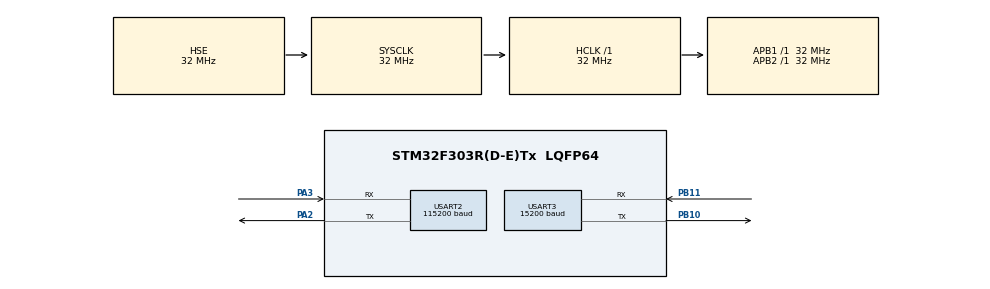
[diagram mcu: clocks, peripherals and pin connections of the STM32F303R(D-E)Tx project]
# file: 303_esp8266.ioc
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Mcu.Family=STM32F3
Mcu.Name=STM32F303R(D-E)Tx
Mcu.Package=LQFP64
NVIC.PriorityGroup=NVIC_PRIORITYGROUP_4
NVIC.USART2_IRQn=true\:0\:0\:false\:false\:true\:true
NVIC.USART3_IRQn=true\:0\:0\:false\:false\:true\:true
PA2.Mode=Asynchronous
PA2.Signal=USART2_TX
PA3.Mode=Asynchronous
PA3.Signal=USART2_RX
PB10.Mode=Asynchronous
PB10.Signal=USART3_TX
PB11.Mode=Asynchronous
PB11.Signal=USART3_RX
PF0-OSC_IN.Mode=HSE-External-Oscillator
PF0-OSC_IN.Signal=RCC_OSC_IN
PF1-OSC_OUT.Mode=HSE-External-Oscillator
PF1-OSC_OUT.Signal=RCC_OSC_OUT
ProjectManager.HeapSize=0x200
ProjectManager.StackSize=0x400
ProjectManager.TargetToolchain=TrueSTUDIO
RCC.AHBFreq_Value=32000000
RCC.APB1Freq_Value=32000000
RCC.APB1TimFreq_Value=32000000
RCC.APB2Freq_Value=32000000
RCC.APB2TimFreq_Value=32000000
RCC.CortexFreq_Value=32000000
RCC.HCLKFreq_Value=32000000
RCC.HSE_VALUE=32000000
RCC.HSI_VALUE=8000000
RCC.LSE_VALUE=32768
RCC.PLLSourceVirtual=RCC_PLLSOURCE_HSE
RCC.SYSCLKFreq_VALUE=32000000
RCC.SYSCLKSourceVirtual=RCC_SYSCLKSOURCE_HSE
RCC.USBFreq_Value=64000000
RCC.Usart2ClockSelection=RCC_USART2CLKSOURCE_SYSCLK
USART2.BaudRate=115200
USART2.VirtualMode-Asynchronous=VM_ASYNC
USART2.WordLength=WORDLENGTH_8B
USART3.BaudRate=15200
USART3.VirtualMode-Asynchronous=VM_ASYNC
USART3.WordLength=WORDLENGTH_8B
board=303_esp8266

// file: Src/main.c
/**
  ******************************************************************************
  * @file           : main.c
  * @brief          : Main program body
  ******************************************************************************
  ** This notice applies to any and all portions of this file
  * that are not between comment pairs USER CODE BEGIN and
  * USER CODE END. Other portions of this file, whether
  * inserted by the user or by software development tools
  * are owned by their respective copyright owners.
  *
  * COPYRIGHT(c) 2018 STMicroelectronics
  *
  * Redistribution and use in source and binary forms, with or without modification,
  * are permitted provided that the following conditions are met:
  *   1. Redistributions of source code must retain the above copyright notice,
  *      this list of conditions and the following disclaimer.
  *   2. Redistributions in binary form must reproduce the above copyright notice,
  *      this list of conditions and the following disclaimer in the documentation
  *      and/or other materials provided with the distribution.
  *   3. Neither the name of STMicroelectronics nor the names of its contributors
  *      may be used to endorse or promote products derived from this software
  *      without specific prior written permission.
  *
  * THIS SOFTWARE IS PROVIDED BY THE COPYRIGHT HOLDERS AND CONTRIBUTORS "AS IS"
  * AND ANY EXPRESS OR IMPLIED WARRANTIES, INCLUDING, BUT NOT LIMITED TO, THE
  * IMPLIED WARRANTIES OF MERCHANTABILITY AND FITNESS FOR A PARTICULAR PURPOSE ARE
  * DISCLAIMED. IN NO EVENT SHALL THE COPYRIGHT HOLDER OR CONTRIBUTORS BE LIABLE
  * FOR ANY DIRECT, INDIRECT, INCIDENTAL, SPECIAL, EXEMPLARY, OR CONSEQUENTIAL
  * DAMAGES (INCLUDING, BUT NOT LIMITED TO, PROCUREMENT OF SUBSTITUTE GOODS OR
  * SERVICES; LOSS OF USE, DATA, OR PROFITS; OR BUSINESS INTERRUPTION) HOWEVER
  * CAUSED AND ON ANY THEORY OF LIABILITY, WHETHER IN CONTRACT, STRICT LIABILITY,
  * OR TORT (INCLUDING NEGLIGENCE OR OTHERWISE) ARISING IN ANY WAY OUT OF THE USE
  * OF THIS SOFTWARE, EVEN IF ADVISED OF THE POSSIBILITY OF SUCH DAMAGE.
  *
  ******************************************************************************
  */
#include "main.h"
#include "stm32f3xx_hal.h"

UART_HandleTypeDef huart2;
UART_HandleTypeDef huart3;

/* USER CODE BEGIN PV */
/* Private variables ---------------------------------------------------------*/

/* USER CODE END PV */

void SystemClock_Config(void);
static void MX_GPIO_Init(void);
static void MX_USART2_UART_Init(void);
static void MX_USART3_UART_Init(void);

/* USER CODE BEGIN PFP */
/* Private function prototypes -----------------------------------------------*/
char rx2_buf[50],rx3_buf[100],rx2_data,rx3_data;
int rx2_index=0,rx3_index=0;
/* USER CODE END PFP */

/* USER CODE BEGIN 0 */
void HAL_UART_RxCpltCallback(UART_HandleTypeDef *huart){
	if(huart->Instance==USART2){
		if(rx2_index==0){
			for(int i=0;i<100;i++){
				rx2_buf[i]=0;
			}
		}
		if(rx2_data!='\n'){
			rx2_buf[rx2_index++]=rx2_data;
		}else{
			rx2_buf[rx2_index]='\n';
			rx2_index=0;
			char tosend[100]={0};
			sprintf(tosend,"Send [%s] to U3\r\n",rx2_buf);
			HAL_UART_Transmit(&huart2,tosend,sizeof(tosend),0xffff);
			HAL_UART_Transmit(&huart3,rx2_buf,sizeof(rx2_buf),0xffff);
			HAL_UART_Transmit(&huart2,"done\r\n",6,0xffff);
		}
		HAL_UART_Receive_IT(&huart2,&rx2_data,1);
	}
  if(huart->Instance==USART3){
	  	  if(rx3_index==0){
	  			for(int i=0;i<100;i++){
	  				rx3_buf[i]=0;
	  			}
	  	  }
	  	  rx3_buf[rx3_index++]=rx3_data;
	  	  if(rx3_data=='\n'){
	  		  rx3_index=0;
	  		  char tosend[100]={0};
	  		  sprintf(tosend,"\r\nESP8266:\r\n%s",rx3_buf);
	  		  HAL_UART_Transmit(&huart2,&tosend,sizeof(tosend),0xffff);
	  	  }

	  	HAL_UART_Receive_IT(&huart3,&rx3_data,1);

	}
}
/* USER CODE END 0 */

int main(void)
{

  /* MCU Configuration----------------------------------------------------------*/

  /* Reset of all peripherals, Initializes the Flash interface and the Systick. */
  HAL_Init();

  /* Configure the system clock */
  SystemClock_Config();

  /* Initialize all configured peripherals */
  MX_GPIO_Init();
  MX_USART2_UART_Init();
  MX_USART3_UART_Init();
  /* USER CODE BEGIN 2 */
  HAL_UART_Receive_IT(&huart2,&rx2_data,1);
  HAL_UART_Receive_IT(&huart3,&rx3_data,1);
  HAL_UART_Transmit(&huart2,"ok\r\n",4,0xffff);
  HAL_UART_Transmit(&huart3,"AT\r\n",4,0xffff);
  /* USER CODE END 2 */

  /* Infinite loop */
  while (1)
  {

  }

}

void SystemClock_Config(void)
{

  RCC_OscInitTypeDef RCC_OscInitStruct;
  RCC_ClkInitTypeDef RCC_ClkInitStruct;
  RCC_PeriphCLKInitTypeDef PeriphClkInit;

    /**Initializes the CPU, AHB and APB busses clocks
    */
  RCC_OscInitStruct.OscillatorType = RCC_OSCILLATORTYPE_HSE;
  RCC_OscInitStruct.HSEState = RCC_HSE_ON;
  RCC_OscInitStruct.HSIState = RCC_HSI_ON;
  RCC_OscInitStruct.PLL.PLLState = RCC_PLL_NONE;
  if (HAL_RCC_OscConfig(&RCC_OscInitStruct) != HAL_OK)
  {
    _Error_Handler(__FILE__, __LINE__);
  }

    /**Initializes the CPU, AHB and APB busses clocks
    */
  RCC_ClkInitStruct.ClockType = RCC_CLOCKTYPE_HCLK|RCC_CLOCKTYPE_SYSCLK
                              |RCC_CLOCKTYPE_PCLK1|RCC_CLOCKTYPE_PCLK2;
  RCC_ClkInitStruct.SYSCLKSource = RCC_SYSCLKSOURCE_HSE;
  RCC_ClkInitStruct.AHBCLKDivider = RCC_SYSCLK_DIV1;
  RCC_ClkInitStruct.APB1CLKDivider = RCC_HCLK_DIV1;
  RCC_ClkInitStruct.APB2CLKDivider = RCC_HCLK_DIV1;

  if (HAL_RCC_ClockConfig(&RCC_ClkInitStruct, FLASH_LATENCY_1) != HAL_OK)
  {
    _Error_Handler(__FILE__, __LINE__);
  }

  PeriphClkInit.PeriphClockSelection = RCC_PERIPHCLK_USART2|RCC_PERIPHCLK_USART3;
  PeriphClkInit.Usart2ClockSelection = RCC_USART2CLKSOURCE_SYSCLK;
  PeriphClkInit.Usart3ClockSelection = RCC_USART3CLKSOURCE_PCLK1;
  if (HAL_RCCEx_PeriphCLKConfig(&PeriphClkInit) != HAL_OK)
  {
    _Error_Handler(__FILE__, __LINE__);
  }

    /**Configure the Systick interrupt time
    */
  HAL_SYSTICK_Config(HAL_RCC_GetHCLKFreq()/1000);

    /**Configure the Systick
    */
  HAL_SYSTICK_CLKSourceConfig(SYSTICK_CLKSOURCE_HCLK);

  /* SysTick_IRQn interrupt configuration */
  HAL_NVIC_SetPriority(SysTick_IRQn, 0, 0);
}

/* USART2 init function */
static void MX_USART2_UART_Init(void)
{

  huart2.Instance = USART2;
  huart2.Init.BaudRate = 115200;
  huart2.Init.WordLength = UART_WORDLENGTH_8B;
  huart2.Init.StopBits = UART_STOPBITS_1;
  huart2.Init.Parity = UART_PARITY_NONE;
  huart2.Init.Mode = UART_MODE_TX_RX;
  huart2.Init.HwFlowCtl = UART_HWCONTROL_NONE;
  huart2.Init.OverSampling = UART_OVERSAMPLING_16;
  huart2.Init.OneBitSampling = UART_ONE_BIT_SAMPLE_DISABLE;
  huart2.AdvancedInit.AdvFeatureInit = UART_ADVFEATURE_NO_INIT;
  if (HAL_UART_Init(&huart2) != HAL_OK)
  {
    _Error_Handler(__FILE__, __LINE__);
  }

}

/* USART3 init function */
static void MX_USART3_UART_Init(void)
{

  huart3.Instance = USART3;
  huart3.Init.BaudRate = 15200;
  huart3.Init.WordLength = UART_WORDLENGTH_8B;
  huart3.Init.StopBits = UART_STOPBITS_1;
  huart3.Init.Parity = UART_PARITY_NONE;
  huart3.Init.Mode = UART_MODE_TX_RX;
  huart3.Init.HwFlowCtl = UART_HWCONTROL_NONE;
  huart3.Init.OverSampling = UART_OVERSAMPLING_16;
  huart3.Init.OneBitSampling = UART_ONE_BIT_SAMPLE_DISABLE;
  huart3.AdvancedInit.AdvFeatureInit = UART_ADVFEATURE_NO_INIT;
  if (HAL_UART_Init(&huart3) != HAL_OK)
  {
    _Error_Handler(__FILE__, __LINE__);
  }

}

/** Configure pins as
        * Analog
        * Input
        * Output
        * EVENT_OUT
        * EXTI
*/
static void MX_GPIO_Init(void)
{

  /* GPIO Ports Clock Enable */
  __HAL_RCC_GPIOF_CLK_ENABLE();
  __HAL_RCC_GPIOA_CLK_ENABLE();
  __HAL_RCC_GPIOB_CLK_ENABLE();

}

void _Error_Handler(char *file, int line)
{
  while(1)
  {
  }
}

/************************ (C) COPYRIGHT STMicroelectronics *****END OF FILE****/
